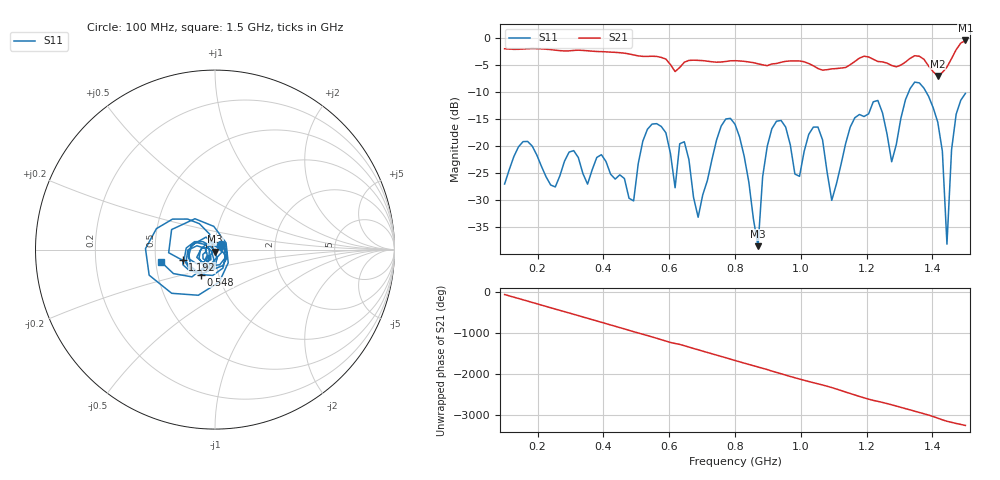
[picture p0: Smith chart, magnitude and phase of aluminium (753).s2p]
! NanoVNA-App
! Date: 2025-09-25 15:01:08
! Start: 100MHz Stop: 1,5GHz Points: 101
! S-Parameter data: F S11 S21 S12 S22
# Hz S RI R 50
!  Frequency  S11_Real  S11_Imag  S21_Real  S21_Imag  S12_Real  S12_Imag  S22_Real  S22_Imag
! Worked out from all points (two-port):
!   101 points, 100 MHz to 1.5 GHz, reference 50 ohm
!   highest |S21| = -0.39 dB at 1.5 GHz (marker M1); lowest = -7.0 dB at 1.416 GHz (marker M2)
!   |S21| within 3 dB of the highest: start of sweep to 565.5 MHz; 1.461 GHz to end of sweep (the widest 2 of 4)
!   lowest |S11| = -38.5 dB at 870 MHz (marker M3), VSWR 1.02, Z = 50 - j1.19 ohm
!   |S11| at or under -10 dB: start of sweep to 1.327 GHz; 1.381 GHz to end of sweep
!   S12 and S22 are empty: the file has one direction only
!   S11 on the Smith chart (normalised r, x): 100 MHz: 1.07, +0.06; 548 MHz: 0.82, -0.24; 1.192 GHz: 0.69, -0.08; 1.5 GHz: 0.53, -0.08
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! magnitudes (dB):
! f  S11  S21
! 100 MHz  -27.0  -1.9
! 156 MHz  -19.1  -2.0
! 338 MHz  -25.0  -2.2
! 492 MHz  -30.1  -3.1
! 548 MHz  -15.9  -3.3
! 576 MHz  -16.3  -3.5
! 618 MHz  -27.7  -6.1
! 646 MHz  -19.1  -4.4
! 688 MHz  -33.1  -4.1
! 800 MHz  -15.9  -4.1
! 870 MHz  -38.5  -4.7
! 912 MHz  -16.7  -4.7
! 996 MHz  -25.5  -4.2
! 1.038 GHz  -16.4  -5.1
! 1.094 GHz  -30.0  -5.6
! 1.192 GHz  -14.5  -3.3
! 1.276 GHz  -22.8  -5.0
! 1.346 GHz  -8.1  -3.2
! 1.416 GHz  -15.5  -7.0
! 1.444 GHz  -38.1  -5.3
! 1.458 GHz  -20.6  -3.7
! 1.5 GHz  -10.2  -0.4
